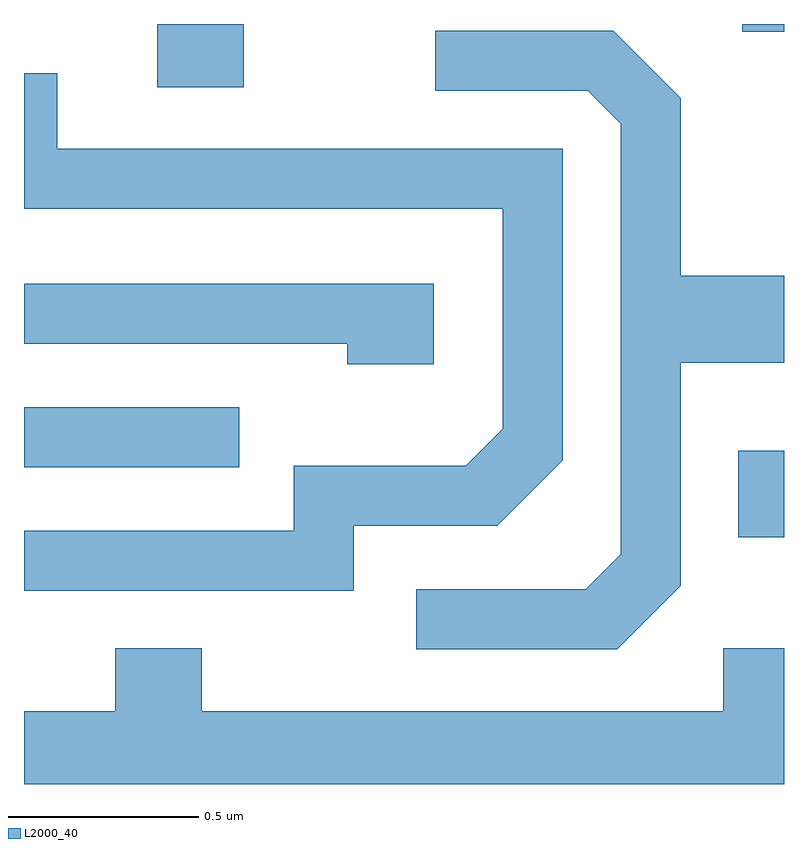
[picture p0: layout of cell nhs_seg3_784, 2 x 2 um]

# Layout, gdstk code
import gdstk
lib = gdstk.Library(unit=1e-6, precision=1e-09)
def R(c, l, rs):  # rectangles x0, y0, x1, y1
    for r in rs: c.add(gdstk.rectangle(r[:2], r[2:], *l))
def P(c, l, *ps):  # polygons
    for p in ps: c.add(gdstk.Polygon(p, *l))
L2000_40 = (2000, 40)

nhs_seg3_784 = lib.new_cell('nhs_seg3_784')
R(nhs_seg3_784, L2000_40, [(192.491,1215.541,192.611,1215.769), (190.611,1215.726,191.178,1215.884), (190.961,1216.726,191.189,1216.892), (192.501,1216.871,192.611,1216.892)])
P(nhs_seg3_784, L2000_40, [(192.339,1215.414),(192.339,1216.001),(192.611,1216.001),(192.611,1216.229),(192.339,1216.229),(192.339,1216.697),(192.162,1216.874),(191.693,1216.874),(191.693,1216.716),(192.094,1216.716),(192.181,1216.629),(192.181,1215.497),(192.089,1215.404),(191.643,1215.404),(191.643,1215.246),(192.172,1215.246)],
  [(191.479,1215.571),(191.857,1215.571),(192.029,1215.744),(192.029,1216.564),(190.699,1216.564),(190.699,1216.763),(190.611,1216.763),(190.611,1216.406),(191.871,1216.406),(191.871,1215.827),(191.774,1215.729),(191.321,1215.729),(191.321,1215.559),(190.611,1215.559),(190.611,1215.401),(191.479,1215.401)],
  [(191.689,1216.209),(190.611,1216.209),(190.611,1216.051),(191.461,1216.051),(191.461,1215.996),(191.689,1215.996)],
  [(192.611,1215.249),(192.451,1215.249),(192.451,1215.084),(191.079,1215.084),(191.079,1215.249),(190.851,1215.249),(190.851,1215.084),(190.611,1215.084),(190.611,1214.892),(192.611,1214.892)])

lib.write_gds('nhs_seg3_784.gds')
